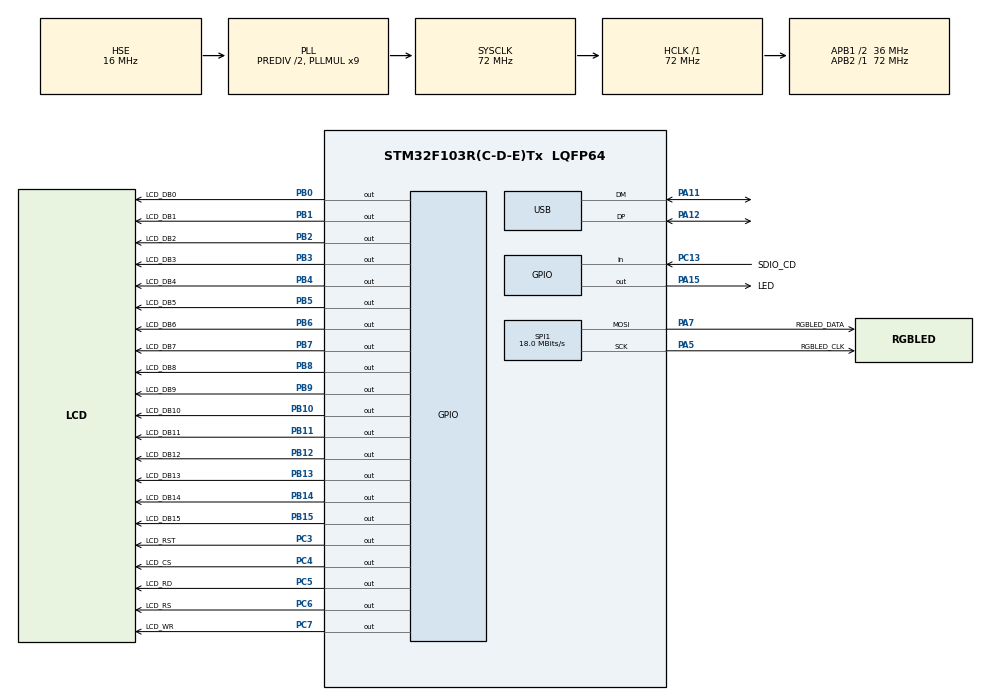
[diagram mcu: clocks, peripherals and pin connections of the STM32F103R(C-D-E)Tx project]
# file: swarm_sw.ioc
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Mcu.Family=STM32F1
Mcu.Name=STM32F103R(C-D-E)Tx
Mcu.Package=LQFP64
NVIC.PriorityGroup=NVIC_PRIORITYGROUP_4
NVIC.USB_LP_CAN1_RX0_IRQn=true\:0\:0\:false\:false\:true
PA11.Mode=Device
PA11.Signal=USB_DM
PA12.Mode=Device
PA12.Signal=USB_DP
PA13.Mode=Serial_Wire
PA13.Signal=SYS_JTMS-SWDIO
PA14.Mode=Serial_Wire
PA14.Signal=SYS_JTCK-SWCLK
PA15.GPIO_Label=LED
PA15.Signal=GPIO_Output
PA5.GPIO_Label=RGBLED_CLK
PA5.Mode=TX_Only_Simplex_Unidirect_Master
PA5.Signal=SPI1_SCK
PA7.GPIO_Label=RGBLED_DATA
PA7.Mode=TX_Only_Simplex_Unidirect_Master
PA7.Signal=SPI1_MOSI
PB0.GPIO_Label=LCD_DB0
PB0.Signal=GPIO_Output
PB1.GPIO_Label=LCD_DB1
PB1.Signal=GPIO_Output
PB10.GPIO_Label=LCD_DB10
PB10.Signal=GPIO_Output
PB11.GPIO_Label=LCD_DB11
PB11.Signal=GPIO_Output
PB12.GPIO_Label=LCD_DB12
PB12.Signal=GPIO_Output
PB13.GPIO_Label=LCD_DB13
PB13.Signal=GPIO_Output
PB14.GPIO_Label=LCD_DB14
PB14.Signal=GPIO_Output
PB15.GPIO_Label=LCD_DB15
PB15.Signal=GPIO_Output
PB2.GPIO_Label=LCD_DB2
PB2.Signal=GPIO_Output
PB3.GPIO_Label=LCD_DB3
PB3.Signal=GPIO_Output
PB4.GPIO_Label=LCD_DB4
PB4.Signal=GPIO_Output
PB5.GPIO_Label=LCD_DB5
PB5.Signal=GPIO_Output
PB6.GPIO_Label=LCD_DB6
PB6.Signal=GPIO_Output
PB7.GPIO_Label=LCD_DB7
PB7.Signal=GPIO_Output
PB8.GPIO_Label=LCD_DB8
PB8.Signal=GPIO_Output
PB9.GPIO_Label=LCD_DB9
PB9.Signal=GPIO_Output
PC13-TAMPER-RTC.GPIO_Label=SDIO_CD
PC13-TAMPER-RTC.GPIO_PuPd=GPIO_PULLUP
PC13-TAMPER-RTC.Signal=GPIO_Input
PC3.GPIO_Label=LCD_RST
PC3.Signal=GPIO_Output
PC4.GPIO_Label=LCD_CS
PC4.Signal=GPIO_Output
PC5.GPIO_Label=LCD_RD
PC5.Signal=GPIO_Output
PC6.GPIO_Label=LCD_RS
PC6.Signal=GPIO_Output
PC7.GPIO_Label=LCD_WR
PC7.Signal=GPIO_Output
PD0-OSC_IN.Mode=HSE-External-Oscillator
PD0-OSC_IN.Signal=RCC_OSC_IN
PD1-OSC_OUT.Mode=HSE-External-Oscillator
PD1-OSC_OUT.Signal=RCC_OSC_OUT
ProjectManager.HeapSize=0x200
ProjectManager.StackSize=0x400
ProjectManager.TargetToolchain=TrueSTUDIO
RCC.AHBFreq_Value=72000000
RCC.APB1CLKDivider=RCC_HCLK_DIV2
RCC.APB1Freq_Value=36000000
RCC.APB1TimFreq_Value=72000000
RCC.APB2Freq_Value=72000000
RCC.APB2TimFreq_Value=72000000
RCC.HCLKFreq_Value=72000000
RCC.HSEDivPLL=RCC_HSE_PREDIV_DIV2
RCC.HSE_VALUE=16000000
RCC.HSIState=RCC_HSI_ON
RCC.PLLMUL=RCC_PLL_MUL9
RCC.SYSCLKFreq_VALUE=72000000
RCC.SYSCLKSource=RCC_SYSCLKSOURCE_PLLCLK
RCC.USBFreq_Value=48000000
RCC.USBPrescaler=RCC_USBCLKSOURCE_PLL_DIV1_5
SPI1.BaudRatePrescaler=SPI_BAUDRATEPRESCALER_4
SPI1.CalculateBaudRate=18.0 MBits/s
SPI1.Mode=SPI_MODE_MASTER
USB.ep0_mps=DEP0CTL_MPS_64
USB_DEVICE.CLASS_NAME_FS=CDC
USB_DEVICE.USBD_MAX_STR_DESC_SIZ-CDC_FS=512
USB_DEVICE.VirtualModeFS=Cdc_FS
VP_USB_DEVICE_VS_USB_DEVICE_CDC_FS.Mode=CDC_FS
board=swarm_sw

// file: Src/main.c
/**
  ******************************************************************************
  * File Name          : main.c
  * Description        : Main program body
  ******************************************************************************
  *
  * Copyright (c) 2017 STMicroelectronics International N.V.
  * All rights reserved.
  *
  * Redistribution and use in source and binary forms, with or without
  * modification, are permitted, provided that the following conditions are met:
  *
  * 1. Redistribution of source code must retain the above copyright notice,
  *    this list of conditions and the following disclaimer.
  * 2. Redistributions in binary form must reproduce the above copyright notice,
  *    this list of conditions and the following disclaimer in the documentation
  *    and/or other materials provided with the distribution.
  * 3. Neither the name of STMicroelectronics nor the names of other
  *    contributors to this software may be used to endorse or promote products
  *    derived from this software without specific written permission.
  * 4. This software, including modifications and/or derivative works of this
  *    software, must execute solely and exclusively on microcontroller or
  *    microprocessor devices manufactured by or for STMicroelectronics.
  * 5. Redistribution and use of this software other than as permitted under
  *    this license is void and will automatically terminate your rights under
  *    this license.
  *
  * THIS SOFTWARE IS PROVIDED BY STMICROELECTRONICS AND CONTRIBUTORS "AS IS"
  * AND ANY EXPRESS, IMPLIED OR STATUTORY WARRANTIES, INCLUDING, BUT NOT
  * LIMITED TO, THE IMPLIED WARRANTIES OF MERCHANTABILITY, FITNESS FOR A
  * PARTICULAR PURPOSE AND NON-INFRINGEMENT OF THIRD PARTY INTELLECTUAL PROPERTY
  * RIGHTS ARE DISCLAIMED TO THE FULLEST EXTENT PERMITTED BY LAW. IN NO EVENT
  * SHALL STMICROELECTRONICS OR CONTRIBUTORS BE LIABLE FOR ANY DIRECT, INDIRECT,
  * INCIDENTAL, SPECIAL, EXEMPLARY, OR CONSEQUENTIAL DAMAGES (INCLUDING, BUT NOT
  * LIMITED TO, PROCUREMENT OF SUBSTITUTE GOODS OR SERVICES; LOSS OF USE, DATA,
  * OR PROFITS; OR BUSINESS INTERRUPTION) HOWEVER CAUSED AND ON ANY THEORY OF
  * LIABILITY, WHETHER IN CONTRACT, STRICT LIABILITY, OR TORT (INCLUDING
  * NEGLIGENCE OR OTHERWISE) ARISING IN ANY WAY OUT OF THE USE OF THIS SOFTWARE,
  * EVEN IF ADVISED OF THE POSSIBILITY OF SUCH DAMAGE.
  *
  ******************************************************************************
  */
#include "main.h"
#include "stm32f1xx_hal.h"
#include "usb_device.h"

/* USER CODE BEGIN Includes */
#include <stdbool.h>
#include <usbd_cdc_if.h>
#include "LCD.h"
/* USER CODE END Includes */

SPI_HandleTypeDef hspi1;

/* USER CODE BEGIN PV */
/* Private variables ---------------------------------------------------------*/

// LED Data Structure - BGR
typedef struct _LED_DATA_ {
  uint8_t blue;
  uint8_t green;
  uint8_t red;
} LED_DATA_t;

LED_DATA_t led_data;

/* USER CODE END PV */

void SystemClock_Config(void);
void Error_Handler(void);
static void MX_GPIO_Init(void);
static void MX_SPI1_Init(void);

/* USER CODE BEGIN PFP */
/* Private function prototypes -----------------------------------------------*/

void setRGBLed(LED_DATA_t* data, uint8_t brightness);

/* USER CODE END PFP */

int main(void)
{

  /* MCU Configuration----------------------------------------------------------*/

  /* Reset of all peripherals, Initializes the Flash interface and the Systick. */
  HAL_Init();

  /* Configure the system clock */
  SystemClock_Config();

  /* Initialize all configured peripherals */
  MX_GPIO_Init();
  MX_SPI1_Init();
  MX_USB_DEVICE_Init();

  /* USER CODE BEGIN 2 */

  // Wait for USB enumeration
  HAL_Delay(1);

  /* USER CODE END 2 */

  /* Infinite loop */
  /* USER CODE BEGIN WHILE */

  // led_data.blue =  128;
  // led_data.green = 0;
  // led_data.red =   0;
  // setRGBLed(&led_data, 16);
  // HAL_Delay(800);

  // led_data.blue =  0;
  // led_data.green = 128;
  // led_data.red =   0;
  // setRGBLed(&led_data, 16);
  // HAL_Delay(800);

  // led_data.blue =  0;
  // led_data.green = 0;
  // led_data.red =   128;
  // setRGBLed(&led_data, 16);
  // HAL_Delay(800);

  // led_data.blue =  128;
  // led_data.green = 128;
  // led_data.red =   0;
  // setRGBLed(&led_data, 16);
  // HAL_Delay(800);

  // led_data.blue =  128;
  // led_data.green = 0;
  // led_data.red =   128;
  // setRGBLed(&led_data, 16);
  // HAL_Delay(800);

  // led_data.blue =  0;
  // led_data.green = 128;
  // led_data.red =   128;
  // setRGBLed(&led_data, 16);
  // HAL_Delay(800);

  // led_data.blue =  128;
  // led_data.green = 128;
  // led_data.red =   128;
  // setRGBLed(&led_data, 16);
  // HAL_Delay(800);

  orientation=LANDSCAPE;

  UTFT_init();

  UTFT_initLCD(orientation);
  setFrontColor(0, 0, 0);
  setBackColor(255, 255, 255);

  uint16_t colors[] = {
    VGA_BLACK,
    VGA_WHITE,
    VGA_RED,
    VGA_GREEN,
    VGA_BLUE,
    VGA_SILVER,
    VGA_GRAY,
    VGA_MAROON,
    VGA_YELLOW,
    VGA_OLIVE,
    VGA_LIME,
    VGA_AQUA,
    VGA_TEAL,
    VGA_NAVY,
    VGA_FUCHSIA,
    VGA_PURPLE,
  };

  uint16_t color = 0;

  while(1)
  {
    for (color = 0; color < sizeof(colors)/sizeof(colors[0]); color++)
    {
      fillScreen(colors[color]);
      _delay_ms(1800);
    }
  }

  bool sdCardInserted = 0;
  sdCardInserted = !HAL_GPIO_ReadPin(SDIO_CD_GPIO_Port, SDIO_CD_Pin);
  while (sdCardInserted)
  {
  /* USER CODE END WHILE */

  /* USER CODE BEGIN 3 */
    // if (sdCardInserted)
    {
      HAL_GPIO_TogglePin(LED_GPIO_Port, LED_Pin);
      // CDC_Transmit_FS("Hello\n\r", 8);
      HAL_Delay(250);
    }
  }

  while(1)
  {

  }
  /* USER CODE END 3 */

}

/** System Clock Configuration
*/
void SystemClock_Config(void)
{

  RCC_OscInitTypeDef RCC_OscInitStruct;
  RCC_ClkInitTypeDef RCC_ClkInitStruct;
  RCC_PeriphCLKInitTypeDef PeriphClkInit;

    /**Initializes the CPU, AHB and APB busses clocks
    */
  RCC_OscInitStruct.OscillatorType = RCC_OSCILLATORTYPE_HSE;
  RCC_OscInitStruct.HSEState = RCC_HSE_ON;
  RCC_OscInitStruct.HSEPredivValue = RCC_HSE_PREDIV_DIV2;
  RCC_OscInitStruct.HSIState = RCC_HSI_ON;
  RCC_OscInitStruct.PLL.PLLState = RCC_PLL_ON;
  RCC_OscInitStruct.PLL.PLLSource = RCC_PLLSOURCE_HSE;
  RCC_OscInitStruct.PLL.PLLMUL = RCC_PLL_MUL9;
  if (HAL_RCC_OscConfig(&RCC_OscInitStruct) != HAL_OK)
  {
    Error_Handler();
  }

    /**Initializes the CPU, AHB and APB busses clocks
    */
  RCC_ClkInitStruct.ClockType = RCC_CLOCKTYPE_HCLK|RCC_CLOCKTYPE_SYSCLK
                              |RCC_CLOCKTYPE_PCLK1|RCC_CLOCKTYPE_PCLK2;
  RCC_ClkInitStruct.SYSCLKSource = RCC_SYSCLKSOURCE_PLLCLK;
  RCC_ClkInitStruct.AHBCLKDivider = RCC_SYSCLK_DIV1;
  RCC_ClkInitStruct.APB1CLKDivider = RCC_HCLK_DIV2;
  RCC_ClkInitStruct.APB2CLKDivider = RCC_HCLK_DIV1;

  if (HAL_RCC_ClockConfig(&RCC_ClkInitStruct, FLASH_LATENCY_2) != HAL_OK)
  {
    Error_Handler();
  }

  PeriphClkInit.PeriphClockSelection = RCC_PERIPHCLK_USB;
  PeriphClkInit.UsbClockSelection = RCC_USBCLKSOURCE_PLL_DIV1_5;
  if (HAL_RCCEx_PeriphCLKConfig(&PeriphClkInit) != HAL_OK)
  {
    Error_Handler();
  }

    /**Configure the Systick interrupt time
    */
  HAL_SYSTICK_Config(HAL_RCC_GetHCLKFreq()/1000);

    /**Configure the Systick
    */
  HAL_SYSTICK_CLKSourceConfig(SYSTICK_CLKSOURCE_HCLK);

  /* SysTick_IRQn interrupt configuration */
  HAL_NVIC_SetPriority(SysTick_IRQn, 0, 0);
}

/* SPI1 init function */
static void MX_SPI1_Init(void)
{

  hspi1.Instance = SPI1;
  hspi1.Init.Mode = SPI_MODE_MASTER;
  hspi1.Init.Direction = SPI_DIRECTION_2LINES;
  hspi1.Init.DataSize = SPI_DATASIZE_8BIT;
  hspi1.Init.CLKPolarity = SPI_POLARITY_LOW;
  hspi1.Init.CLKPhase = SPI_PHASE_1EDGE;
  hspi1.Init.NSS = SPI_NSS_SOFT;
  hspi1.Init.BaudRatePrescaler = SPI_BAUDRATEPRESCALER_4;
  hspi1.Init.FirstBit = SPI_FIRSTBIT_MSB;
  hspi1.Init.TIMode = SPI_TIMODE_DISABLE;
  hspi1.Init.CRCCalculation = SPI_CRCCALCULATION_DISABLE;
  hspi1.Init.CRCPolynomial = 10;
  if (HAL_SPI_Init(&hspi1) != HAL_OK)
  {
    Error_Handler();
  }

}

/** Configure pins as
        * Analog
        * Input
        * Output
        * EVENT_OUT
        * EXTI
*/
static void MX_GPIO_Init(void)
{

  GPIO_InitTypeDef GPIO_InitStruct;

  /* GPIO Ports Clock Enable */
  __HAL_RCC_GPIOC_CLK_ENABLE();
  __HAL_RCC_GPIOD_CLK_ENABLE();
  __HAL_RCC_GPIOA_CLK_ENABLE();
  __HAL_RCC_GPIOB_CLK_ENABLE();

  /*Configure GPIO pin Output Level */
  HAL_GPIO_WritePin(GPIOC, LCD_RST_Pin|LCD_CS_Pin|LCD_RD_Pin|LCD_RS_Pin
                          |LCD_WR_Pin, GPIO_PIN_RESET);

  /*Configure GPIO pin Output Level */
  HAL_GPIO_WritePin(GPIOB, LCD_DB0_Pin|LCD_DB1_Pin|LCD_DB2_Pin|LCD_DB10_Pin
                          |LCD_DB11_Pin|LCD_DB12_Pin|LCD_DB13_Pin|LCD_DB14_Pin
                          |LCD_DB15_Pin|LCD_DB3_Pin|LCD_DB4_Pin|LCD_DB5_Pin
                          |LCD_DB6_Pin|LCD_DB7_Pin|LCD_DB8_Pin|LCD_DB9_Pin, GPIO_PIN_RESET);

  /*Configure GPIO pin Output Level */
  HAL_GPIO_WritePin(LED_GPIO_Port, LED_Pin, GPIO_PIN_RESET);

  /*Configure GPIO pin : SDIO_CD_Pin */
  GPIO_InitStruct.Pin = SDIO_CD_Pin;
  GPIO_InitStruct.Mode = GPIO_MODE_INPUT;
  GPIO_InitStruct.Pull = GPIO_PULLUP;
  HAL_GPIO_Init(SDIO_CD_GPIO_Port, &GPIO_InitStruct);

  /*Configure GPIO pins : LCD_RST_Pin LCD_CS_Pin LCD_RD_Pin LCD_RS_Pin
                           LCD_WR_Pin */
  GPIO_InitStruct.Pin = LCD_RST_Pin|LCD_CS_Pin|LCD_RD_Pin|LCD_RS_Pin
                          |LCD_WR_Pin;
  GPIO_InitStruct.Mode = GPIO_MODE_OUTPUT_PP;
  GPIO_InitStruct.Speed = GPIO_SPEED_FREQ_LOW;
  HAL_GPIO_Init(GPIOC, &GPIO_InitStruct);

  /*Configure GPIO pins : LCD_DB0_Pin LCD_DB1_Pin LCD_DB2_Pin LCD_DB10_Pin
                           LCD_DB11_Pin LCD_DB12_Pin LCD_DB13_Pin LCD_DB14_Pin
                           LCD_DB15_Pin LCD_DB3_Pin LCD_DB4_Pin LCD_DB5_Pin
                           LCD_DB6_Pin LCD_DB7_Pin LCD_DB8_Pin LCD_DB9_Pin */
  GPIO_InitStruct.Pin = LCD_DB0_Pin|LCD_DB1_Pin|LCD_DB2_Pin|LCD_DB10_Pin
                          |LCD_DB11_Pin|LCD_DB12_Pin|LCD_DB13_Pin|LCD_DB14_Pin
                          |LCD_DB15_Pin|LCD_DB3_Pin|LCD_DB4_Pin|LCD_DB5_Pin
                          |LCD_DB6_Pin|LCD_DB7_Pin|LCD_DB8_Pin|LCD_DB9_Pin;
  GPIO_InitStruct.Mode = GPIO_MODE_OUTPUT_PP;
  GPIO_InitStruct.Speed = GPIO_SPEED_FREQ_LOW;
  HAL_GPIO_Init(GPIOB, &GPIO_InitStruct);

  /*Configure GPIO pin : LED_Pin */
  GPIO_InitStruct.Pin = LED_Pin;
  GPIO_InitStruct.Mode = GPIO_MODE_OUTPUT_PP;
  GPIO_InitStruct.Speed = GPIO_SPEED_FREQ_LOW;
  HAL_GPIO_Init(LED_GPIO_Port, &GPIO_InitStruct);

}

/* USER CODE BEGIN 4 */

void setRGBLed(LED_DATA_t* data, uint8_t brightness)
{
  uint8_t startFrame[4] = {0};
  uint8_t led_brightness = (0xe0 | brightness);
  uint8_t *led_data=(uint8_t*)data; // to avoid warning about type in HAL_SPI_Transmit

  HAL_SPI_Transmit(&hspi1, startFrame, sizeof(startFrame), 500); // send StartFrame (4 bytes)
  HAL_SPI_Transmit(&hspi1, &led_brightness, sizeof(led_brightness), 500); // send brightness (1 byte)
  HAL_SPI_Transmit(&hspi1, led_data, sizeof(LED_DATA_t), 500); // send bgr data (3 bytes)
}

/* USER CODE END 4 */

void Error_Handler(void)
{
  while(1)
  {
  }
}

/************************ (C) COPYRIGHT STMicroelectronics *****END OF FILE****/
